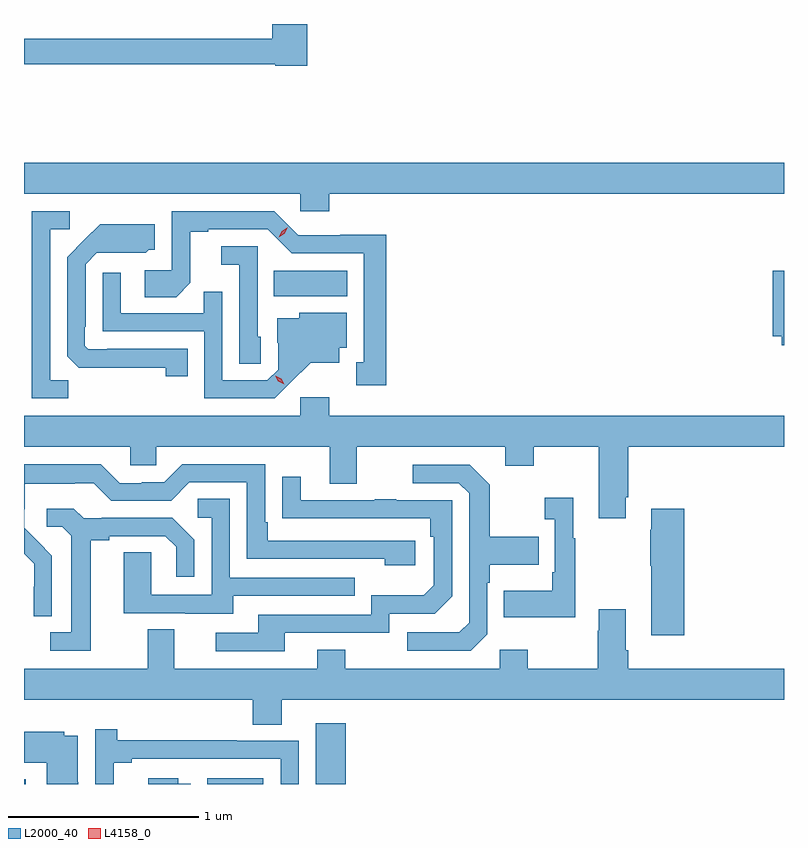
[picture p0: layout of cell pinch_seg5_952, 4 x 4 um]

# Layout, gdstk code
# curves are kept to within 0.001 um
import gdstk
lib = gdstk.Library(unit=1e-6, precision=1e-09)
def R(c, l, rs):  # rectangles x0, y0, x1, y1
    for r in rs: c.add(gdstk.rectangle(r[:2], r[2:], *l))
def P(c, l, *ps):  # polygons
    for p in ps: c.add(gdstk.Polygon(p, *l))
L2000_40 = (2000, 40)
L4158_0 = (4158, 0)

pinch_seg5_952 = lib.new_cell('pinch_seg5_952')
R(pinch_seg5_952, L2000_40, [(719.025,877.629,719.035,877.654), (719.99,877.629,720.283,877.66), (720.56,877.629,720.719,877.948), (720.34,880.196,720.727,880.33)])
P(pinch_seg5_952, L2000_40, [(720.515,881.629),(720.332,881.629),(720.332,881.552),(719.025,881.552),(719.025,881.416),(720.348,881.416),(720.348,881.408),(720.515,881.408)],
  [(720.632,880.736),(723.025,880.736),(723.025,880.9),(719.025,880.9),(719.025,880.736),(720.48,880.736),(720.48,880.643),(720.632,880.643)],
  [(719.259,879.755),(719.163,879.755),(719.163,880.548),(719.266,880.548),(719.266,880.644),(719.067,880.644),(719.067,879.66),(719.259,879.66)],
  [(720.931,880.52),(720.69,880.52),(720.69,880.518),(720.468,880.518),(720.342,880.644),(719.802,880.644),(719.802,880.332),(719.661,880.332),(719.661,880.192),(719.825,880.192),(719.901,880.268),(719.901,880.536),(719.995,880.536),(719.995,880.548),(720.309,880.548),(720.435,880.422),(720.812,880.422),(720.812,879.849),(720.773,879.849),(720.773,879.729),(720.931,879.729)],
  [(719.888,879.921),(719.464,879.921),(719.464,879.918),(719.364,879.918),(719.346,879.936),(719.346,880.036),(719.349,880.036),(719.349,880.365),(719.409,880.425),(719.666,880.424),(719.682,880.44),(719.713,880.44),(719.713,880.576),(719.425,880.576),(719.253,880.402),(719.253,879.88),(719.312,879.821),(719.77,879.82),(719.77,879.774),(719.888,879.774)],
  [(720.27,879.984),(720.255,879.984),(720.255,880.458),(720.063,880.458),(720.063,880.361),(720.159,880.361),(720.159,879.841),(720.27,879.841)],
  [(723.025,880.33),(722.966,880.33),(722.966,879.986),(723.014,879.986),(723.014,879.937),(723.025,879.937)],
  [(720.43,879.743),(720.533,879.845),(720.685,879.845),(720.685,879.924),(720.724,879.924),(720.724,880.108),(720.474,880.108),(720.474,880.081),(720.359,880.081),(720.359,879.952),(720.363,879.952),(720.363,879.81),(720.306,879.753),(720.069,879.753),(720.069,880.22),(719.971,880.22),(719.971,880.107),(719.535,880.107),(719.535,880.321),(719.439,880.321),(719.439,880.011),(719.973,880.011),(719.973,879.66),(720.346,879.66)],
  [(722.191,879.139),(722.204,879.139),(722.204,879.404),(723.025,879.404),(723.025,879.568),(720.632,879.568),(720.632,879.664),(720.48,879.664),(720.48,879.568),(719.025,879.568),(719.025,879.404),(719.583,879.404),(719.583,879.306),(719.721,879.306),(719.721,879.404),(720.635,879.404),(720.635,879.21),(720.775,879.21),(720.775,879.404),(721.559,879.404),(721.559,879.305),(721.707,879.305),(721.707,879.404),(722.051,879.404),(722.051,879.027),(722.191,879.027)],
  [(719.172,878.83),(719.026,878.978),(719.026,879.075),(719.028,879.075),(719.028,879.209),(719.291,879.209),(719.291,879.213),(719.391,879.213),(719.484,879.12),(719.799,879.12),(719.895,879.216),(720.198,879.216),(720.198,878.814),(720.923,878.814),(720.923,878.78),(721.084,878.78),(721.084,878.91),(720.307,878.91),(720.307,879.007),(720.294,879.007),(720.294,879.312),(719.859,879.312),(719.763,879.216),(719.645,879.216),(719.645,879.213),(719.529,879.213),(719.429,879.313),(719.025,879.313),(719.025,878.841),(719.078,878.789),(719.078,878.666),(719.076,878.666),(719.076,878.512),(719.172,878.512)],
  [(721.464,878.418),(721.464,878.687),(721.477,878.687),(721.477,878.783),(721.733,878.783),(721.733,878.931),(721.477,878.931),(721.477,879.203),(721.371,879.309),(721.071,879.309),(721.071,879.213),(721.314,879.213),(721.368,879.159),(721.368,878.478),(721.317,878.427),(721.041,878.427),(721.041,878.331),(721.377,878.331)],
  [(720.397,878.424),(720.948,878.424),(720.948,878.526),(721.188,878.526),(721.278,878.616),(721.278,879.123),(720.983,879.123),(720.983,879.128),(720.871,879.128),(720.871,879.123),(720.481,879.123),(720.481,879.247),(720.385,879.247),(720.385,879.028),(721.162,879.027),(721.162,878.93),(721.182,878.93),(721.182,878.676),(721.129,878.623),(720.852,878.623),(720.852,878.52),(720.257,878.52),(720.257,878.424),(720.033,878.424),(720.033,878.328),(720.397,878.328)],
  [(721.927,878.923),(721.915,878.923),(721.915,879.136),(721.767,879.136),(721.767,879.023),(721.818,879.023),(721.818,878.743),(721.806,878.743),(721.806,878.647),(721.549,878.647),(721.549,878.507),(721.927,878.507)],
  [(720.127,878.619),(720.767,878.619),(720.767,878.715),(720.108,878.715),(720.108,879.131),(719.94,879.131),(719.94,879.03),(720.012,879.03),(720.012,878.625),(719.694,878.625),(719.694,878.849),(719.549,878.849),(719.549,878.529),(719.873,878.529),(719.873,878.525),(720.127,878.525)],
  [(722.5,879.079),(722.327,879.079),(722.327,878.966),(722.32,878.966),(722.32,878.777),(722.327,878.777),(722.327,878.412),(722.5,878.412)],
  [(719.377,878.912),(719.473,878.912),(719.473,878.934),(719.768,878.934),(719.825,878.877),(719.825,878.721),(719.922,878.721),(719.922,878.914),(719.806,879.03),(719.434,879.03),(719.434,879.027),(719.34,879.027),(719.288,879.079),(719.145,879.079),(719.145,878.982),(719.226,878.982),(719.273,878.935),(719.273,878.427),(719.163,878.427),(719.163,878.331),(719.377,878.331)],
  [(720.382,878.072),(723.025,878.072),(723.025,878.236),(722.204,878.236),(722.204,878.332),(722.191,878.332),(722.191,878.548),(722.051,878.548),(722.051,878.435),(722.044,878.435),(722.044,878.236),(721.677,878.236),(721.677,878.335),(721.53,878.335),(721.53,878.236),(720.717,878.236),(720.717,878.335),(720.569,878.335),(720.569,878.236),(719.815,878.236),(719.815,878.444),(719.675,878.444),(719.675,878.236),(719.025,878.236),(719.025,878.072),(720.23,878.072),(720.23,877.942),(720.382,877.942)],
  [(719.498,877.741),(719.593,877.741),(719.593,877.761),(720.375,877.761),(720.375,877.629),(720.471,877.629),(720.471,877.857),(720.146,877.857),(720.146,877.859),(719.516,877.859),(719.516,877.918),(719.4,877.918),(719.4,877.629),(719.498,877.629)],
  [(719.311,877.638),(719.308,877.638),(719.308,877.882),(719.238,877.882),(719.238,877.903),(719.026,877.903),(719.026,877.742),(719.144,877.742),(719.144,877.629),(719.311,877.629)],
  [(719.902,877.63),(719.836,877.63),(719.836,877.66),(719.678,877.66),(719.678,877.629),(719.902,877.629)])
P(pinch_seg5_952, L4158_0, [(720.365,880.506),(720.365,880.506),(720.382,880.539),(720.413,880.558),(720.413,880.558),(720.413,880.558),(720.396,880.525),(720.365,880.506)],
  [(720.395,879.732),(720.364,879.748),(720.347,879.778),(720.347,879.778),(720.348,879.778),(720.378,879.763),(720.395,879.733),(720.395,879.732)])

lib.write_gds('pinch_seg5_952.gds')
